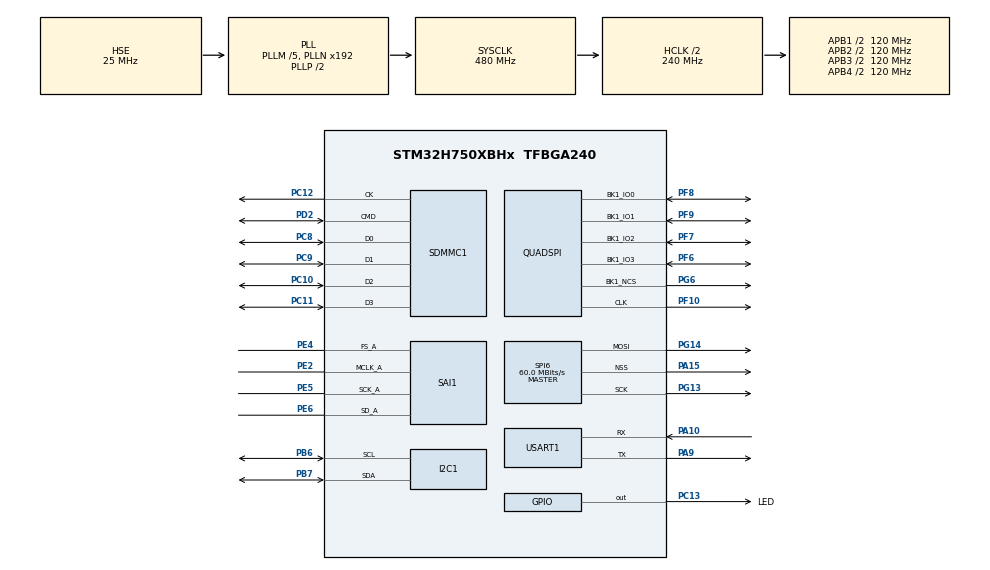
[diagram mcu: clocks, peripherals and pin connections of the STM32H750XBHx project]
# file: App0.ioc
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CORTEX_M7.AccessPermission_Spec=MPU_REGION_FULL_ACCESS
CORTEX_M7.CPU_DCache=Enabled
CORTEX_M7.CPU_ICache=Enabled
CORTEX_M7.DisableExec_Spec=MPU_INSTRUCTION_ACCESS_ENABLE
CORTEX_M7.IsCacheable_Spec=MPU_ACCESS_CACHEABLE
CORTEX_M7.IsShareable_Spec=MPU_ACCESS_NOT_SHAREABLE
CORTEX_M7.default_mode_Activation=1
Dma.Request0=USART1_RX
Dma.Request1=USART1_TX
Dma.Request2=SAI1_A
Dma.SAI1_A.2.Direction=DMA_MEMORY_TO_PERIPH
Dma.SAI1_A.2.EventEnable=DISABLE
Dma.SAI1_A.2.FIFOMode=DMA_FIFOMODE_DISABLE
Dma.SAI1_A.2.Instance=DMA1_Stream2
Dma.SAI1_A.2.MemDataAlignment=DMA_MDATAALIGN_WORD
Dma.SAI1_A.2.MemInc=DMA_MINC_ENABLE
Dma.SAI1_A.2.Mode=DMA_CIRCULAR
Dma.SAI1_A.2.PeriphDataAlignment=DMA_PDATAALIGN_WORD
Dma.SAI1_A.2.PeriphInc=DMA_PINC_DISABLE
Dma.SAI1_A.2.Polarity=HAL_DMAMUX_REQ_GEN_RISING
Dma.SAI1_A.2.Priority=DMA_PRIORITY_HIGH
Dma.SAI1_A.2.RequestNumber=1
Dma.SAI1_A.2.SignalID=NONE
Dma.SAI1_A.2.SyncEnable=DISABLE
Dma.SAI1_A.2.SyncPolarity=HAL_DMAMUX_SYNC_NO_EVENT
Dma.SAI1_A.2.SyncRequestNumber=1
Dma.SAI1_A.2.SyncSignalID=NONE
Dma.USART1_RX.0.Direction=DMA_PERIPH_TO_MEMORY
Dma.USART1_RX.0.EventEnable=DISABLE
Dma.USART1_RX.0.FIFOMode=DMA_FIFOMODE_DISABLE
Dma.USART1_RX.0.Instance=DMA1_Stream0
Dma.USART1_RX.0.MemDataAlignment=DMA_MDATAALIGN_BYTE
Dma.USART1_RX.0.MemInc=DMA_MINC_ENABLE
Dma.USART1_RX.0.Mode=DMA_NORMAL
Dma.USART1_RX.0.PeriphDataAlignment=DMA_PDATAALIGN_BYTE
Dma.USART1_RX.0.PeriphInc=DMA_PINC_DISABLE
Dma.USART1_RX.0.Polarity=HAL_DMAMUX_REQ_GEN_RISING
Dma.USART1_RX.0.Priority=DMA_PRIORITY_LOW
Dma.USART1_RX.0.RequestNumber=1
Dma.USART1_RX.0.SignalID=NONE
Dma.USART1_RX.0.SyncEnable=DISABLE
Dma.USART1_RX.0.SyncPolarity=HAL_DMAMUX_SYNC_NO_EVENT
Dma.USART1_RX.0.SyncRequestNumber=1
Dma.USART1_RX.0.SyncSignalID=NONE
Dma.USART1_TX.1.Direction=DMA_MEMORY_TO_PERIPH
Dma.USART1_TX.1.EventEnable=DISABLE
Dma.USART1_TX.1.FIFOMode=DMA_FIFOMODE_DISABLE
Dma.USART1_TX.1.Instance=DMA1_Stream1
Dma.USART1_TX.1.MemDataAlignment=DMA_MDATAALIGN_BYTE
Dma.USART1_TX.1.MemInc=DMA_MINC_ENABLE
Dma.USART1_TX.1.Mode=DMA_NORMAL
Dma.USART1_TX.1.PeriphDataAlignment=DMA_PDATAALIGN_BYTE
Dma.USART1_TX.1.PeriphInc=DMA_PINC_DISABLE
Dma.USART1_TX.1.Polarity=HAL_DMAMUX_REQ_GEN_RISING
Dma.USART1_TX.1.Priority=DMA_PRIORITY_LOW
Dma.USART1_TX.1.RequestNumber=1
Dma.USART1_TX.1.SignalID=NONE
Dma.USART1_TX.1.SyncEnable=DISABLE
Dma.USART1_TX.1.SyncPolarity=HAL_DMAMUX_SYNC_NO_EVENT
Dma.USART1_TX.1.SyncRequestNumber=1
Dma.USART1_TX.1.SyncSignalID=NONE
FATFS._CODE_PAGE=437
FATFS._MAX_SS=4096
FATFS._USE_LFN=3
I2C1.Timing=0x307075B1
Mcu.Family=STM32H7
Mcu.Name=STM32H750XBHx
Mcu.Package=TFBGA240
NVIC.DMA1_Stream0_IRQn=true\:0\:0\:false\:false\:true\:false\:true\:true
NVIC.DMA1_Stream1_IRQn=true\:0\:0\:false\:false\:true\:false\:true\:true
NVIC.DMA1_Stream2_IRQn=true\:0\:0\:false\:false\:true\:false\:true\:true
NVIC.PriorityGroup=NVIC_PRIORITYGROUP_4
NVIC.SAI1_IRQn=true\:0\:0\:false\:false\:true\:true\:true\:true
NVIC.TIM17_IRQn=true\:5\:0\:true\:false\:true\:true\:true\:true
NVIC.USART1_IRQn=true\:5\:0\:true\:false\:true\:true\:true\:true
PA10.GPIO_Speed=GPIO_SPEED_FREQ_VERY_HIGH
PA10.Mode=Asynchronous
PA10.Signal=USART1_RX
PA13\ (JTMS/SWDIO).Mode=Serial_Wire
PA13\ (JTMS/SWDIO).Signal=DEBUG_JTMS-SWDIO
PA14\ (JTCK/SWCLK).Mode=Serial_Wire
PA14\ (JTCK/SWCLK).Signal=DEBUG_JTCK-SWCLK
PA15\ (JTDI).GPIO_Speed=GPIO_SPEED_FREQ_VERY_HIGH
PA15\ (JTDI).Mode=NSS_Signal_Hard_Output
PA15\ (JTDI).Signal=SPI6_NSS
PA9.GPIO_Speed=GPIO_SPEED_FREQ_VERY_HIGH
PA9.Mode=Asynchronous
PA9.Signal=USART1_TX
PB6.GPIO_Speed=GPIO_SPEED_FREQ_VERY_HIGH
PB6.Mode=I2C
PB6.Signal=I2C1_SCL
PB7.GPIO_Speed=GPIO_SPEED_FREQ_VERY_HIGH
PB7.Mode=I2C
PB7.Signal=I2C1_SDA
PC10.Mode=SD_4_bits_Wide_bus
PC10.Signal=SDMMC1_D2
PC11.Mode=SD_4_bits_Wide_bus
PC11.Signal=SDMMC1_D3
PC12.Mode=SD_4_bits_Wide_bus
PC12.Signal=SDMMC1_CK
PC13.GPIO_Label=LED
PC13.GPIO_Speed=GPIO_SPEED_FREQ_LOW
PC13.PinState=GPIO_PIN_SET
PC13.Signal=GPIO_Output
PC14-OSC32_IN\ (OSC32_IN).Mode=LSE-External-Oscillator
PC14-OSC32_IN\ (OSC32_IN).Signal=RCC_OSC32_IN
PC15-OSC32_OUT\ (OSC32_OUT).Mode=LSE-External-Oscillator
PC15-OSC32_OUT\ (OSC32_OUT).Signal=RCC_OSC32_OUT
PC8.Mode=SD_4_bits_Wide_bus
PC8.Signal=SDMMC1_D0
PC9.Mode=SD_4_bits_Wide_bus
PC9.Signal=SDMMC1_D1
PD2.Mode=SD_4_bits_Wide_bus
PD2.Signal=SDMMC1_CMD
PE2.GPIO_Speed=GPIO_SPEED_FREQ_VERY_HIGH
PE2.Mode=SAI_A_MasterWithClock
PE2.Signal=SAI1_MCLK_A
PE4.GPIO_Speed=GPIO_SPEED_FREQ_VERY_HIGH
PE4.Mode=SAI_A_MasterWithClock
PE4.Signal=SAI1_FS_A
PE5.GPIO_Speed=GPIO_SPEED_FREQ_VERY_HIGH
PE5.Mode=SAI_A_MasterWithClock
PE5.Signal=SAI1_SCK_A
PE6.GPIO_Speed=GPIO_SPEED_FREQ_VERY_HIGH
PE6.Mode=SAI_A_MasterWithClock
PE6.Signal=SAI1_SD_A
PF10.GPIO_Speed=GPIO_SPEED_FREQ_VERY_HIGH
PF10.Mode=Single Bank 1
PF10.Signal=QUADSPI_CLK
PF6.GPIO_Speed=GPIO_SPEED_FREQ_VERY_HIGH
PF6.Mode=Single Bank 1
PF6.Signal=QUADSPI_BK1_IO3
PF7.GPIO_Speed=GPIO_SPEED_FREQ_VERY_HIGH
PF7.Mode=Single Bank 1
PF7.Signal=QUADSPI_BK1_IO2
PF8.GPIO_Speed=GPIO_SPEED_FREQ_VERY_HIGH
PF8.Mode=Single Bank 1
PF8.Signal=QUADSPI_BK1_IO0
PF9.GPIO_Speed=GPIO_SPEED_FREQ_VERY_HIGH
PF9.Mode=Single Bank 1
PF9.Signal=QUADSPI_BK1_IO1
PG13.GPIO_Speed=GPIO_SPEED_FREQ_VERY_HIGH
PG13.Mode=TX_Only_Simplex_Unidirect_Master
PG13.Signal=SPI6_SCK
PG14.GPIO_Speed=GPIO_SPEED_FREQ_VERY_HIGH
PG14.Mode=TX_Only_Simplex_Unidirect_Master
PG14.Signal=SPI6_MOSI
PG6.GPIO_Speed=GPIO_SPEED_FREQ_VERY_HIGH
PG6.Mode=Single Bank 1
PG6.Signal=QUADSPI_BK1_NCS
PH0-OSC_IN\ (PH0).Mode=HSE-External-Oscillator
PH0-OSC_IN\ (PH0).Signal=RCC_OSC_IN
PH1-OSC_OUT\ (PH1).Mode=HSE-External-Oscillator
PH1-OSC_OUT\ (PH1).Signal=RCC_OSC_OUT
ProjectManager.HeapSize=0x200
ProjectManager.StackSize=0x400
ProjectManager.TargetToolchain=CMake
QUADSPI.ClockMode=QSPI_CLOCK_MODE_3
QUADSPI.ClockPrescaler=1
QUADSPI.FifoThreshold=32
QUADSPI.FlashSize=24
QUADSPI.SampleShifting=QSPI_SAMPLE_SHIFTING_HALFCYCLE
RCC.ADCFreq_Value=12280000
RCC.APB1Freq_Value=120000000
RCC.APB2Freq_Value=120000000
RCC.APB3Freq_Value=120000000
RCC.APB4Freq_Value=120000000
RCC.CortexFreq_Value=480000000
RCC.D1PPRE=RCC_APB3_DIV2
RCC.D2PPRE1=RCC_APB1_DIV2
RCC.D2PPRE2=RCC_APB2_DIV2
RCC.D3PPRE=RCC_APB4_DIV2
RCC.DIVM1=5
RCC.DIVM2=25
RCC.DIVN1=192
RCC.DIVN2=307
RCC.DIVN3=128
RCC.DIVP2=25
RCC.DIVQ1=4
RCC.HCLKFreq_Value=240000000
RCC.HPRE=RCC_HCLK_DIV2
RCC.PLLSourceVirtual=RCC_PLLSOURCE_HSE
RCC.SAI1CLockSelection=RCC_SAI1CLKSOURCE_PLL2
RCC.SYSCLKFreq_VALUE=480000000
RCC.SYSCLKSource=RCC_SYSCLKSOURCE_PLLCLK
RCC.USBFreq_Value=240000000
SAI1.ActiveFrameLength-SAI_A_MasterWithClock=32
SAI1.AudioFrequency-SAI_A_MasterWithClock=SAI_AUDIO_FREQUENCY_48K
SAI1.DataSize-SAI_A_MasterWithClock=SAI_DATASIZE_24
SAI1.ErrorAudioFreq-SAI_A_MasterWithClock=-0.06 %
SAI1.FIFOThreshold-SAI_A_MasterWithClock=SAI_FIFOTHRESHOLD_1QF
SAI1.FSDefinition-SAI_A_MasterWithClock=SAI_FS_CHANNEL_IDENTIFICATION
SAI1.FSOffset-SAI_A_MasterWithClock=SAI_FS_BEFOREFIRSTBIT
SAI1.FrameLength-SAI_A_MasterWithClock=64
SAI1.Instance-SAI_A_MasterWithClock=SAI$Index_Block_A
SAI1.MClockEnable-SAI_A_MasterWithClock=SAI_MASTERCLOCK_ENABLE
SAI1.OutputDrive-SAI_A_MasterWithClock=SAI_OUTPUTDRIVE_ENABLE
SAI1.RealAudioFreq-SAI_A_MasterWithClock=47.968 KHz
SAI1.SlotActive-SAI_A_MasterWithClock=0x00000003
SAI1.SlotNumber-SAI_A_MasterWithClock=2
SAI1.SlotSize-SAI_A_MasterWithClock=SAI_SLOTSIZE_32B
SAI1.VirtualMode-SAI_A_MasterWithClock=VM_MASTER
SAI1.VirtualSlotActive-SAI_A_MasterWithClock=SAI_SLOT_USERSETTING
SAI1.VirtualSlotActive0-SAI_A_MasterWithClock=true
SAI1.VirtualSlotActive1-SAI_A_MasterWithClock=true
SDMMC1.ClockDiv=6
SPI6.CalculateBaudRate=60.0 MBits/s
SPI6.DataSize=SPI_DATASIZE_8BIT
SPI6.Direction=SPI_DIRECTION_2LINES_TXONLY
SPI6.FifoThreshold=SPI_FIFO_THRESHOLD_02DATA
SPI6.Mode=SPI_MODE_MASTER
SPI6.VirtualNSS=VM_NSSHARD
SPI6.VirtualType=VM_MASTER
TIM17.AutoReloadPreload=TIM_AUTORELOAD_PRELOAD_ENABLE
TIM17.Period=1000-1
TIM17.Prescaler=240-1
USART1.FIFOMode=FIFOMODE_DISABLE
USART1.VirtualMode-Asynchronous=VM_ASYNC
VP_FATFS_VS_SDIO.Mode=SDIO
VP_MEMORYMAP_VS_MEMORYMAP.Mode=CurAppReg
VP_TIM17_VS_ClockSourceINT.Mode=Enable_Timer
board=custom

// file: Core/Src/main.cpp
/* USER CODE BEGIN Header */
/**
  ******************************************************************************
  * @file           : main.c
  * @brief          : Main program body
  ******************************************************************************
  * @attention
  *
  * Copyright (c) 2025 STMicroelectronics.
  * All rights reserved.
  *
  * This software is licensed under terms that can be found in the LICENSE file
  * in the root directory of this software component.
  * If no LICENSE file comes with this software, it is provided AS-IS.
  *
  ******************************************************************************
  */
/* USER CODE END Header */
#include "main.h"
#include "dma.h"
#include "fatfs.h"
#include "i2c.h"
#include "quadspi.h"
#include "sai.h"
#include "sdmmc.h"
#include "spi.h"
#include "stm32h7xx_hal.h"
#include "stm32h7xx_hal_def.h"
#include "tim.h"
#include "usart.h"
#include "gpio.h"

/* USER CODE BEGIN Includes */
#include <stdint.h>
#include <stdio.h>
#include <string.h>
#include <sys/_intsup.h>
#include "AkieImage.h"
#include "ssd1306.hpp"
#include "st7789.hpp"
#include "compImage.h"
#include "wav_player.h"
#include "AS5600.hpp"
/* USER CODE END Includes */

/* USER CODE BEGIN PD */
#define ReciveSize 32
/* USER CODE END PD */

/* USER CODE BEGIN PV */
// SSD1306 i2cScreen(&hi2c1);
ST7789 spiScreen(&hspi6);
// AS5600 sensor(&hi2c1);
Image_t g_Image[1];

// volatile uint8_t val = 0;
// __attribute__((section(".ram_d1")))
//   volatile char mSerialReciveBuffer[ReciveSize];
/* USER CODE END PV */

void SystemClock_Config(void);
static void MPU_Config(void);
/* USER CODE BEGIN PFP */
void mProcess_SerialReceiveData(char* data, uint16_t Size);
/* USER CODE END PFP */

int main(void)
{

  /* USER CODE BEGIN 1 */
  /*重要！！！恢复中断可用*/
  __enable_irq();
  // static uint32_t last_scroll_time = 0;
  // const uint32_t SCROLL_INTERVAL = 33;  // 约30fps
  /* USER CODE END 1 */

  /* MPU Configuration--------------------------------------------------------*/
  MPU_Config();

  /* Enable the CPU Cache */

  /* Enable I-Cache---------------------------------------------------------*/
  SCB_EnableICache();

  /* Enable D-Cache---------------------------------------------------------*/
  SCB_EnableDCache();

  /* MCU Configuration--------------------------------------------------------*/

  /* Reset of all peripherals, Initializes the Flash interface and the Systick. */
  HAL_Init();

  /* Configure the system clock */
  SystemClock_Config();

  /* Initialize all configured peripherals */
  MX_GPIO_Init();
  MX_DMA_Init();
  MX_USART1_UART_Init();
  MX_TIM17_Init();
  MX_SPI6_Init();
  MX_I2C1_Init();
  MX_QUADSPI_Init();
  MX_SAI1_Init();
  MX_SDMMC1_SD_Init();
  MX_FATFS_Init();
  /* USER CODE BEGIN 2 */
  if(QSPI_W25Qxx_MemoryMappedMode() != QSPI_W25Qxx_OK)
    Error_Handler();

  // memset((uint8_t*)mSerialReciveBuffer, 0xff, ReciveSize);
  __HAL_DMA_DISABLE_IT(&hdma_usart1_rx, DMA_IT_HT);
  // HAL_UARTEx_ReceiveToIdle_DMA(&huart1, (uint8_t*)mSerialReciveBuffer, ReciveSize);
  printf("\033[35mThis is a run in QSPI Flash`s Application, Execute method is XIP\n\033[31mCall \"resetMem\"to clean usart1 recive memory, \"Exit\" to exit Application\033[0m\n");
  // i2cScreen.Init();
  spiScreen.Init();
  // sensor.Init();
  // i2cScreen.SetFont(&ASCII_8x16);
  // i2cScreen.SetFont(&Chinese_16x16);
  spiScreen.SetFont(&ASCII_10x20);
  spiScreen.SetFont(&Chinese_16x16);
  LCD_Backlight_ON;
  // i2cScreen.ClearBuffer();
  spiScreen.Clear();
  spiScreen.SetColor(0xFF2070CF);
  spiScreen.FillRect(10, 10, 100, 100);
  spiScreen.SetColor(0xFFFF0000);
  spiScreen.FillRect(50, 50, 100, 100);
  spiScreen.SetColor(0xFF00FF00);
  spiScreen.FillRect(90, 90, 100, 100);
  spiScreen.SetColor(0xFF0000FF);
  spiScreen.FillRect(130, 130, 100, 100);
  spiScreen.CopyBuffer(10, 10, 128, 128, (uint16_t*)gImage_Akie000);
  spiScreen.CopyBuffer(148, 10, 128, 128, (uint16_t*)gImage_Akie001);
  // i2cScreen.DrawRect(20, 20, 32, 32, 1);
  // i2cScreen.FillRect(64, 30, 32, 32, 1);
  // i2cScreen.UpdateScreen();
  TIM17_Delay_Ms(2000);
  // i2cScreen.ClearBuffer();
  // i2cScreen.UpdateScreen();
  spiScreen.SetColor(0xFF00FFFF);
  spiScreen.SetBackColor(0xFF000000);
  spiScreen.Clear();
  // TIM17_Delay_Ms(100);
  // i2cScreen.DrawChineseString(0, 0, "Akie秋绘~", 1);
  // i2cScreen.DrawString(0, 16, "Happy Birthday", 1);
  // i2cScreen.DrawNumber(0, 32, 20160126, 1);
  // i2cScreen.DrawFloat(0, 48, 0.767f, 5, 3, 1);
  // i2cScreen.UpdateScreen();
  spiScreen.CopyBuffer(0, 0, 320, 240, (uint16_t*)gImage_CompImage);
  // TIM17_Delay_Ms(2000);
  // spiScreen.CopyBuffer(0, 0, 320, 240, (uint16_t*)gImage_Akie004);
  // TIM17_Delay_Ms(2000);
  // spiScreen.CopyBuffer(0, 0, 320, 240, (uint16_t*)gImage_Akie005);
  TIM17_Delay_Ms(2000);
  spiScreen.CopyBuffer(0, 0, 320, 240, (uint16_t*)gImage_Akie008);
  spiScreen.DrawString(0, 0, "gImage_Akie006");
  spiScreen.DrawNumber(0, 20, 123);
  spiScreen.DrawFloat(0, 40, 10.345, 8, 4);
  spiScreen.DrawChineseString(0, 60, "Akie秋绘");
  // HAL_UART_Receive_IT(&huart1, (uint8_t*)mSerialReciveBuffer, ReciveSize);
  // HAL_UART_Receive_DMA(&huart1, (uint8_t*)mSerialReciveBuffer, ReciveSize);
  WAV_PlayFile("0:/output0.wav");
  HAL_Delay(3000);
  // g_Image[0] = {.width = 128,
  //               .height = 128,
  //               .data = (uint8_t*)gImage_Akie000
  //             };
  // // 加载图片到LCD驱动
  // spiScreen.LoadImages(g_Image, 1);
  // spiScreen.StartScroll(SCROLL_LEFT, 5);
  /* USER CODE END 2 */

  /* Infinite loop */
  /* USER CODE BEGIN WHILE */
  while (1)
  {
    // HAL_GPIO_TogglePin(LED_GPIO_Port, LED_Pin);
    // for循环大概一个时钟周期，但该用TIM还得用TIM，HAL_Delay这玩意阻塞的
    // for (volatile int i = 0; i < 48000000; i++);
    // TIM17_Delay_Ms(1000);
    // uint32_t current_time = HAL_GetTick();

    // 更新滚动显示（控制帧率）
    // if (current_time - last_scroll_time >= SCROLL_INTERVAL) {
    //     spiScreen.UpdateScroll();
    //     last_scroll_time = current_time;
    // }
    // if(val == 1)
    //   break;
    // 其他任务
    // i2cScreen.ClearBuffer();
    // i2cScreen.DrawChineseString(0, 0, "Akie秋绘~", 1);
    // i2cScreen.DrawString(0, 16, "Happy Birthday", 1);
    // i2cScreen.DrawNumber(0, 32, 20160126, 1);
    // i2cScreen.DrawFloat(0, 48, 0.767f, 5, 3, 1);
    // i2cScreen.DrawFloat(48, 48, sensor.ReadAngle(), 8, 4, 1);
    // i2cScreen.UpdateScreen();
    // printf("Angle:%f\n", sensor.ReadAngle());
    HAL_Delay(1);
    /* USER CODE END WHILE */

  }
}

void SystemClock_Config(void)
{
  RCC_OscInitTypeDef RCC_OscInitStruct = {0};
  RCC_ClkInitTypeDef RCC_ClkInitStruct = {0};

  /** Supply configuration update enable
  */
  HAL_PWREx_ConfigSupply(PWR_LDO_SUPPLY);

  /** Configure the main internal regulator output voltage
  */
  __HAL_PWR_VOLTAGESCALING_CONFIG(PWR_REGULATOR_VOLTAGE_SCALE0);

  while(!__HAL_PWR_GET_FLAG(PWR_FLAG_VOSRDY)) {}

  /** Initializes the RCC Oscillators according to the specified parameters
  * in the RCC_OscInitTypeDef structure.
  */
  RCC_OscInitStruct.OscillatorType = RCC_OSCILLATORTYPE_HSE;
  RCC_OscInitStruct.HSEState = RCC_HSE_ON;
  RCC_OscInitStruct.PLL.PLLState = RCC_PLL_ON;
  RCC_OscInitStruct.PLL.PLLSource = RCC_PLLSOURCE_HSE;
  RCC_OscInitStruct.PLL.PLLM = 5;
  RCC_OscInitStruct.PLL.PLLN = 192;
  RCC_OscInitStruct.PLL.PLLP = 2;
  RCC_OscInitStruct.PLL.PLLQ = 4;
  RCC_OscInitStruct.PLL.PLLR = 2;
  RCC_OscInitStruct.PLL.PLLRGE = RCC_PLL1VCIRANGE_2;
  RCC_OscInitStruct.PLL.PLLVCOSEL = RCC_PLL1VCOWIDE;
  RCC_OscInitStruct.PLL.PLLFRACN = 0;
  if (HAL_RCC_OscConfig(&RCC_OscInitStruct) != HAL_OK)
  {
    Error_Handler();
  }

  /** Initializes the CPU, AHB and APB buses clocks
  */
  RCC_ClkInitStruct.ClockType = RCC_CLOCKTYPE_HCLK|RCC_CLOCKTYPE_SYSCLK
                              |RCC_CLOCKTYPE_PCLK1|RCC_CLOCKTYPE_PCLK2
                              |RCC_CLOCKTYPE_D3PCLK1|RCC_CLOCKTYPE_D1PCLK1;
  RCC_ClkInitStruct.SYSCLKSource = RCC_SYSCLKSOURCE_PLLCLK;
  RCC_ClkInitStruct.SYSCLKDivider = RCC_SYSCLK_DIV1;
  RCC_ClkInitStruct.AHBCLKDivider = RCC_HCLK_DIV2;
  RCC_ClkInitStruct.APB3CLKDivider = RCC_APB3_DIV2;
  RCC_ClkInitStruct.APB1CLKDivider = RCC_APB1_DIV2;
  RCC_ClkInitStruct.APB2CLKDivider = RCC_APB2_DIV2;
  RCC_ClkInitStruct.APB4CLKDivider = RCC_APB4_DIV2;

  if (HAL_RCC_ClockConfig(&RCC_ClkInitStruct, FLASH_LATENCY_4) != HAL_OK)
  {
    Error_Handler();
  }
}

/* USER CODE BEGIN 4 */
// void HAL_UART_RxCpltCallback(UART_HandleTypeDef *huart)
// {
//   if(huart->Instance == USART1)
//   {
//     if(strncmp(mSerialReciveBuffer, "gImage_Akie002", ReciveSize) == 0)
//     {
//       CopyBuffer(0, 0, 320, 240, (uint16_t*)gImage_Akie002);
//     }
//     else if (strncmp(mSerialReciveBuffer, "gImage_Akie003", ReciveSize) == 0)
//     {
//       CopyBuffer(0, 0, 320, 240, (uint16_t*)gImage_Akie003);
//     }
//     else {
//       HAL_UART_Transmit_DMA(&huart1, (uint8_t*)mSerialReciveBuffer, ReciveSize);
//     }
//     // memset(mSerialReciveBuffer, 0, ReciveSize);
//     HAL_UART_Receive_DMA(&huart1, (uint8_t*)mSerialReciveBuffer, ReciveSize);
//   }
// }

void HAL_UARTEx_RxEventCallback(UART_HandleTypeDef *huart, uint16_t Size)
{
  // HAL_UART_Transmit_DMA(&huart1, (uint8_t*)"\033[33mInterrupt Call\033[0m\n", 25);
  if(huart->Instance == USART1)
  {
    // HAL_UART_Transmit_DMA(&huart1, (uint8_t*)mSerialReciveBuffer, Size);
    // SCB_InvalidateDCache_by_Addr((uint32_t*)mSerialReciveBuffer, ReciveSize);
    // mProcess_SerialReceiveData((char*)mSerialReciveBuffer, Size);
    // SCB_InvalidateDCache_by_Addr((uint32_t*)mSerialReciveBuffer, ReciveSize);
    // __HAL_DMA_DISABLE_IT(&hdma_usart1_rx, DMA_IT_HT);
    // HAL_UARTEx_ReceiveToIdle_DMA(&huart1, (uint8_t*)mSerialReciveBuffer, ReciveSize);
  }
}

//经过测试，指令只有在非优化或优化等级1才能用，优化等级过高会将这玩意优化掉
void mProcess_SerialReceiveData(char* data, uint16_t Size)
{
  UNUSED(data);
  UNUSED(Size);
  // if(strncmp(data, "gImage_Akie004", Size) == 0)
  //   {
  //     spiScreen.CopyBuffer(0, 0, 320, 240, (uint16_t*)gImage_Akie004);
  //   }
  // else if (strncmp(data, "gImage_Akie005", Size) == 0)
  //   {
  //     spiScreen.CopyBuffer(0, 0, 320, 240, (uint16_t*)gImage_Akie005);
  //   }
  // else if(strncmp(data, "gImage_Akie006", Size) == 0)
  //   {
  //     spiScreen.CopyBuffer(0, 0, 320, 240, (uint16_t*)gImage_Akie006);
  //   }
  // else if (strncmp(data, "gImage_Akie007", Size) == 0)
  //   {
  //     spiScreen.CopyBuffer(0, 0, 320, 240, (uint16_t*)gImage_Akie007);
  //   }
  // else if (strncmp(data, "gImage_Akie008", Size) == 0)
  //   {
  //     spiScreen.CopyBuffer(0, 0, 320, 240, (uint16_t*)gImage_Akie008);
  //   }
  // else if (strncmp(data, "resetMem", Size) == 0) {
  //     memset((uint8_t*)mSerialReciveBuffer, 255, ReciveSize);
  //   }
  // else if (strncmp(data, "playaudio", Size) == 0) {
  //     WAV_PlayFile("0:/output.wav");
  // }
  // else if (strncmp(data, "Exit", Size) == 0) {
  //     HAL_UART_Transmit_DMA(&huart1, (uint8_t*)"Application Exit\n", 18);
  //     LCD_Backlight_OFF;
  //     HAL_Delay(1);
  //     HAL_UART_MspDeInit(&huart1);
  //     HAL_SPI_MspDeInit(&hspi6);
  //     SCB_CleanDCache();
  //     SCB_InvalidateICache();
  //     __HAL_RCC_USART1_FORCE_RESET();
  //     __HAL_RCC_DMA1_FORCE_RESET();
  //     HAL_Delay(1);
  //     __HAL_RCC_USART1_RELEASE_RESET();
  //     __HAL_RCC_DMA1_RELEASE_RESET();
  //     __disable_irq();
  //     val = 1;
  //   }
  // else {
  //     HAL_UART_Transmit_DMA(&huart1, (uint8_t*)mSerialReciveBuffer, Size);
  //   }
}
/* USER CODE END 4 */

 /* MPU Configuration */

void MPU_Config(void)
{
  MPU_Region_InitTypeDef MPU_InitStruct = {0};

  /* Disables the MPU */
  HAL_MPU_Disable();

  /** Initializes and configures the Region and the memory to be protected
  */
  MPU_InitStruct.Enable = MPU_REGION_ENABLE;
  MPU_InitStruct.Number = MPU_REGION_NUMBER0;
  MPU_InitStruct.BaseAddress = 0x20000000;
  MPU_InitStruct.Size = MPU_REGION_SIZE_128KB;
  MPU_InitStruct.SubRegionDisable = 0x00;
  MPU_InitStruct.TypeExtField = MPU_TEX_LEVEL1;
  MPU_InitStruct.AccessPermission = MPU_REGION_FULL_ACCESS;
  MPU_InitStruct.DisableExec = MPU_INSTRUCTION_ACCESS_ENABLE;
  MPU_InitStruct.IsShareable = MPU_ACCESS_NOT_SHAREABLE;
  MPU_InitStruct.IsCacheable = MPU_ACCESS_CACHEABLE;
  MPU_InitStruct.IsBufferable = MPU_ACCESS_BUFFERABLE;

  HAL_MPU_ConfigRegion(&MPU_InitStruct);

  /** Initializes and configures the Region and the memory to be protected
  */
  MPU_InitStruct.Number = MPU_REGION_NUMBER1;
  MPU_InitStruct.BaseAddress = 0x24000000;
  MPU_InitStruct.Size = MPU_REGION_SIZE_512KB;
  MPU_InitStruct.SubRegionDisable = 0x0;
  MPU_InitStruct.IsShareable = MPU_ACCESS_SHAREABLE;

  HAL_MPU_ConfigRegion(&MPU_InitStruct);

  /** Initializes and configures the Region and the memory to be protected
  */
  MPU_InitStruct.Number = MPU_REGION_NUMBER2;
  MPU_InitStruct.BaseAddress = 0x90000000;
  MPU_InitStruct.Size = MPU_REGION_SIZE_32MB;
  MPU_InitStruct.IsShareable = MPU_ACCESS_NOT_SHAREABLE;
  MPU_InitStruct.IsCacheable = MPU_ACCESS_CACHEABLE;
  MPU_InitStruct.IsBufferable = MPU_ACCESS_NOT_BUFFERABLE;

  HAL_MPU_ConfigRegion(&MPU_InitStruct);
  /* Enables the MPU */
  HAL_MPU_Enable(MPU_PRIVILEGED_DEFAULT);

}

void Error_Handler(void)
{
  __disable_irq();
  while (1)
  {
  }
}
